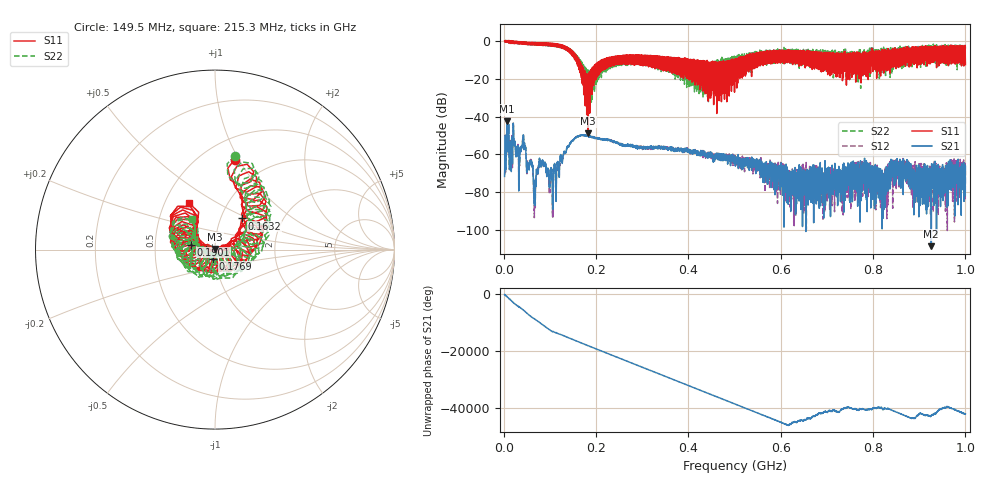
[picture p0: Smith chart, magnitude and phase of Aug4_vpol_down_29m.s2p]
!Keysight Technologies N9923A: A.12.45
!Date: Tuesday, 05 August 2025 20:53:14
!Timezone: (UTC+08:00) Kuala Lumpur, Singapore
!Model: N9923A
!Serial: MY61181427
!GPS Latitude:
!GPS Longitude:
!GPS TimeStamp: 0001-01-01 00:00:00Z
!GPS Seconds Since Last Read: 0
!CHECKSUM:1816974178
!Correction: S11(ON U)S21(ON U)S12(ON U)S22(ON U)
!S2P File: Measurements:S11,S21,S12,S22:
# Hz S DB R 50
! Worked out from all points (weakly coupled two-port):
!   4001 points, 2 MHz to 1 GHz, reference 50 ohm
!   highest |S21| = -42.58 dB at 6.99 MHz (marker M1); lowest = -108.5 dB at 926.1 MHz (marker M2)
!   lowest |S11| = -48.9 dB at 183.1 MHz (marker M3), VSWR 1.01, Z = 50 + j0.36 ohm
!   |S11| at or under -10 dB: 162.8 MHz to 213.8 MHz (51.04 MHz wide, 27.1 % of centre); 412.2 MHz to 420.4 MHz (8.19 MHz wide, 1.97 % of centre); 420.4 MHz to 494 MHz (73.55 MHz wide, 16.1 % of centre)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
!   |S22| runs from -35.0 to 0.1 dB; largest |S21 - S12| = 0.00093
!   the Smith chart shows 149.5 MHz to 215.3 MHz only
!   S11 on the Smith chart (normalised r, x): 149.5 MHz: 0.70, +0.96; 163.2 MHz: 1.26, +0.46; 176.9 MHz: 0.97, -0.10; 190.1 MHz: 0.76, +0.04; 215.3 MHz: 0.66, +0.38
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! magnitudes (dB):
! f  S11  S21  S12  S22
! 2 MHz  -0.1  -71.6  -70.3  -0.1
! 6.99 MHz  -0.1  -42.6  -42.4  -0.3
! 30.44 MHz  -0.7  -56.2  -56.3  -1.0
! 42.92 MHz  -1.7  -50.1  -50.0  -1.9
! 68.62 MHz  -1.1  -77.7  -75.7  -1.2
! 81.34 MHz  -2.4  -66.4  -66.7  -2.3
! 109.8 MHz  -2.8  -66.0  -65.9  -2.7
! 149.5 MHz  -5.8  -52.6  -52.3  -5.5
! 163.2 MHz  -12.8  -50.4  -50.4  -11.1
! 168.4 MHz  -19.4  -49.9  -49.9  -16.3
! 176.9 MHz  -25.4  -50.2  -50.0  -25.4
! 183.1 MHz  -48.9  -50.3  -50.1  -22.6
! 190.1 MHz  -17.2  -50.9  -50.8  -23.2
! 215.3 MHz  -10.6  -52.0  -52.0  -13.4
! 334.8 MHz  -8.2  -56.0  -56.4  -10.0
! 501 MHz  -9.8  -62.5  -63.2  -9.0
! 667.4 MHz  -6.2  -70.9  -72.6  -6.5
! 781.7 MHz  -6.1  -62.0  -67.9  -15.0
! 819.6 MHz  -12.6  -99.4  -77.4  -5.6
! 833.8 MHz  -6.1  -66.9  -73.3  -13.6
! 926.1 MHz  -7.0  -108.5  -71.2  -6.3
! 1 GHz  -12.6  -66.2  -68.7  -4.0
